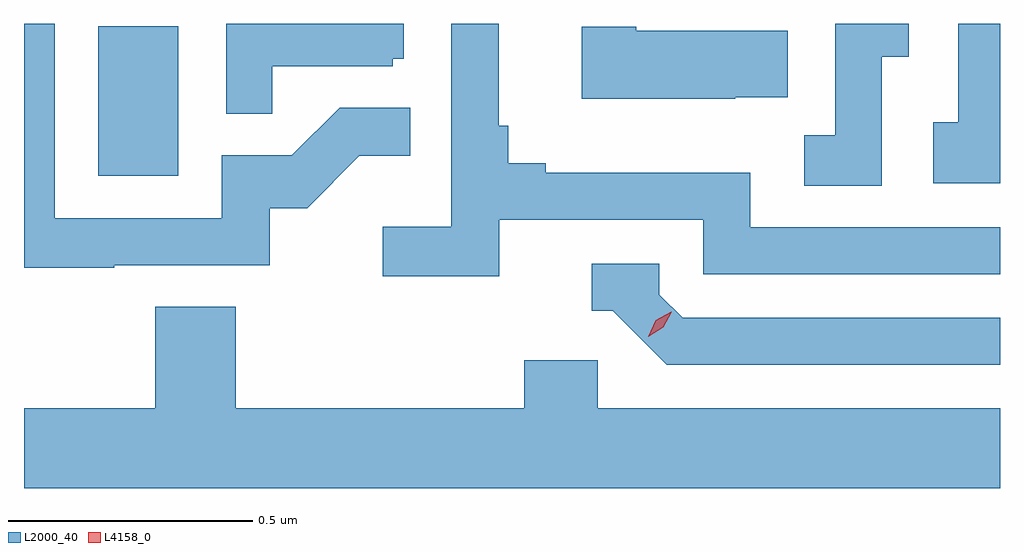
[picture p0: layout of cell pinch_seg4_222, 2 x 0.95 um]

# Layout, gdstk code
import gdstk
lib = gdstk.Library(unit=1e-6, precision=1e-09)
def R(c, l, rs):  # rectangles x0, y0, x1, y1
    for r in rs: c.add(gdstk.rectangle(r[:2], r[2:], *l))
def P(c, l, *ps):  # polygons
    for p in ps: c.add(gdstk.Polygon(p, *l))
L2000_40 = (2000, 40)
L4158_0 = (4158, 0)

pinch_seg4_222 = lib.new_cell('pinch_seg4_222')
R(pinch_seg4_222, L2000_40, [(987.164,826.764,987.328,827.071)])
P(pinch_seg4_222, L2000_40, [(988.77,827.008),(988.825,827.008),(988.825,827.076),(988.674,827.076),(988.674,826.847),(988.611,826.847),(988.611,826.744),(988.77,826.744)],
  [(987.986,826.674),(988.404,826.674),(988.404,826.563),(989.012,826.563),(989.012,826.659),(988.5,826.659),(988.5,826.771),(988.081,826.771),(988.081,826.79),(988.004,826.79),(988.004,826.867),(987.985,826.867),(987.985,827.076),(987.888,827.076),(987.888,826.66),(987.747,826.66),(987.747,826.558),(987.986,826.558)],
  [(987.197,826.581),(987.516,826.581),(987.516,826.698),(987.592,826.698),(987.699,826.805),(987.803,826.805),(987.803,826.904),(987.659,826.904),(987.561,826.806),(987.417,826.806),(987.417,826.677),(987.075,826.677),(987.075,827.076),(987.012,827.076),(987.012,826.576),(987.197,826.576)],
  [(989.012,827.076),(988.926,827.076),(988.926,826.874),(988.875,826.874),(988.875,826.749),(989.012,826.749)],
  [(987.521,826.989),(987.768,826.989),(987.768,827.004),(987.79,827.004),(987.79,827.076),(987.426,827.076),(987.426,826.891),(987.521,826.891)],
  [(988.469,826.925),(988.577,826.925),(988.577,827.062),(988.267,827.062),(988.267,827.07),(988.155,827.07),(988.155,826.922),(988.469,826.922)],
  [(989.012,826.473),(988.362,826.473),(988.314,826.521),(988.314,826.584),(988.175,826.584),(988.175,826.488),(988.218,826.488),(988.329,826.377),(989.012,826.377)],
  [(989.012,826.288),(988.188,826.288),(988.188,826.386),(988.037,826.386),(988.037,826.288),(987.446,826.288),(987.446,826.496),(987.281,826.496),(987.281,826.288),(987.012,826.288),(987.012,826.124),(989.012,826.124)])
P(pinch_seg4_222, L4158_0, [(988.291,826.435),(988.291,826.435),(988.307,826.468),(988.338,826.486),(988.339,826.486),(988.339,826.486),(988.322,826.454),(988.291,826.435)])

lib.write_gds('pinch_seg4_222.gds')
